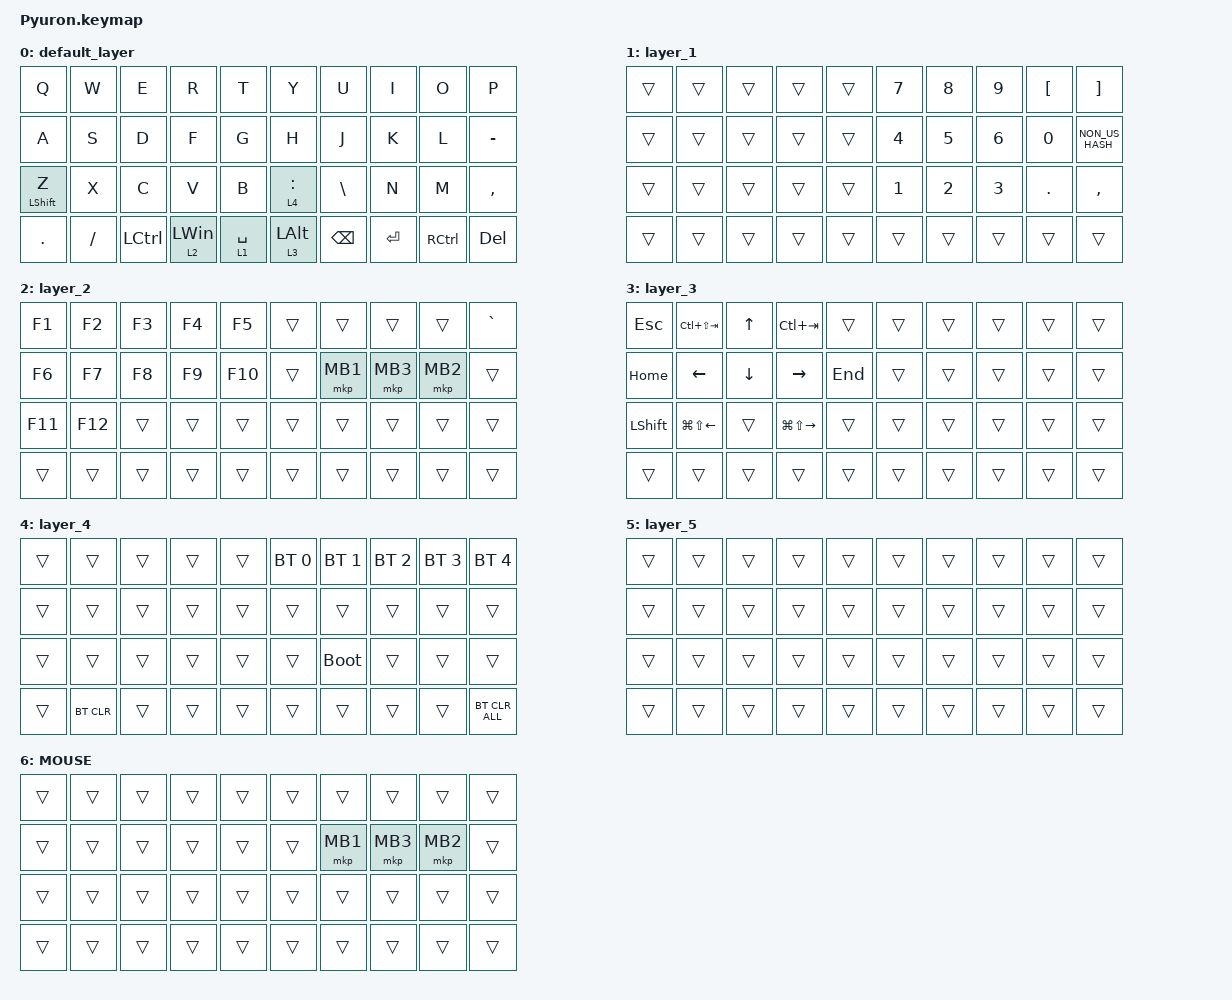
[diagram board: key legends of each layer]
#include <behaviors.dtsi>
#include <dt-bindings/zmk/bt.h>
#include <dt-bindings/zmk/keys.h>
#include <dt-bindings/zmk/pointing.h>

#define MOUSE 6

&mt {
    flavor = "balanced";
    quick-tap-ms = <0>;
};

/ {
    combos { compatible = "zmk,combos"; };

    macros {
        to_layer_0: to_layer_0 {
            compatible = "zmk,behavior-macro-one-param";
            #binding-cells = <1>;
            bindings = <&to 0 &macro_param_1to1 &kp MACRO_PLACEHOLDER>;
            label = "TO_LAYER_0";
        };
    };

    lt_to_layer_0: lt_to_layer_0 {
        compatible = "zmk,behavior-hold-tap";
        label = "LAYER_TAP_TO_0";
        bindings = <&mo>, <&to_layer_0>;

        #binding-cells = <2>;
        tapping-term-ms = <200>;
    };
};

/ {
    behaviors {
    };

    keymap {
        compatible = "zmk,keymap";

        default_layer {
            bindings = <
&kp Q             &kp W      &kp E      &kp R          &kp T        &kp Y           &kp U          &kp I      &kp O              &kp P
&kp A             &kp S      &kp D      &kp F          &kp G        &kp H           &kp J          &kp K      &kp L              &kp MINUS
&mt LEFT_SHIFT Z  &kp X      &kp C      &kp V          &kp B        &lt 4 COLON     &kp BACKSLASH  &kp N      &kp M              &kp COMMA
&kp DOT           &kp SLASH  &kp LCTRL  &lt 2 LEFT_WIN &lt 1 SPACE  &lt 3 LEFT_ALT  &kp BACKSPACE  &kp ENTER  &kp RIGHT_CONTROL  &kp DEL
            >;
        };

        layer_1 {
            bindings = <
&trans  &trans  &trans  &trans  &trans  &kp N7  &kp N8  &kp N9  &kp LEFT_BRACKET  &kp RIGHT_BRACKET
&trans  &trans  &trans  &trans  &trans  &kp N4  &kp N5  &kp N6  &kp N0            &kp NON_US_HASH
&trans  &trans  &trans  &trans  &trans  &kp N1  &kp N2  &kp N3  &kp DOT           &kp COMMA
&trans  &trans  &trans  &trans  &trans  &trans  &trans  &trans  &trans            &trans
            >;
        };

        layer_2 {
            bindings = <
&kp F1   &kp F2   &kp F3  &kp F4  &kp F5   &trans  &trans    &trans    &trans    &kp GRAVE
&kp F6   &kp F7   &kp F8  &kp F9  &kp F10  &trans  &mkp MB1  &mkp MB3  &mkp MB2  &trans
&kp F11  &kp F12  &trans  &trans  &trans   &trans  &trans    &trans    &trans    &trans
&trans   &trans   &trans  &trans  &trans   &trans  &trans    &trans    &trans    &trans
            >;
        };

        layer_3 {
            bindings = <
&kp ESCAPE      &kp LC(LS(TAB))         &kp UP_ARROW    &kp LC(TAB)              &trans   &trans  &trans  &trans  &trans  &trans
&kp HOME        &kp LEFT_ARROW         &kp DOWN_ARROW  &kp RIGHT_ARROW          &kp END  &trans  &trans  &trans  &trans  &trans
&kp LEFT_SHIFT  &kp LG(LS(LEFT_ARROW))  &trans          &kp LG(LS(RIGHT_ARROW))  &trans   &trans  &trans  &trans  &trans  &trans
&trans          &trans                 &trans          &trans                   &trans   &trans  &trans  &trans  &trans  &trans
            >;
        };

        layer_4 {
            bindings = <
&trans  &trans      &trans  &trans  &trans  &bt BT_SEL 0  &bt BT_SEL 1  &bt BT_SEL 2  &bt BT_SEL 3  &bt BT_SEL 4
&trans  &trans      &trans  &trans  &trans  &trans        &trans        &trans        &trans        &trans
&trans  &trans      &trans  &trans  &trans  &trans        &bootloader   &trans        &trans        &trans
&trans  &bt BT_CLR  &trans  &trans  &trans  &trans        &trans        &trans        &trans        &bt BT_CLR_ALL
            >;
        };

        layer_5 {
            bindings = <
&trans  &trans  &trans  &trans  &trans  &trans  &trans  &trans  &trans  &trans
&trans  &trans  &trans  &trans  &trans  &trans  &trans  &trans  &trans  &trans
&trans  &trans  &trans  &trans  &trans  &trans  &trans  &trans  &trans  &trans
&trans  &trans  &trans  &trans  &trans  &trans  &trans  &trans  &trans  &trans
            >;
        };

        MOUSE {
            bindings = <
&trans  &trans  &trans  &trans  &trans  &trans  &trans    &trans    &trans    &trans
&trans  &trans  &trans  &trans  &trans  &trans  &mkp MB1  &mkp MB3  &mkp MB2  &trans
&trans  &trans  &trans  &trans  &trans  &trans  &trans    &trans    &trans    &trans
&trans  &trans  &trans  &trans  &trans  &trans  &trans    &trans    &trans    &trans
            >;
        };
    };
};
